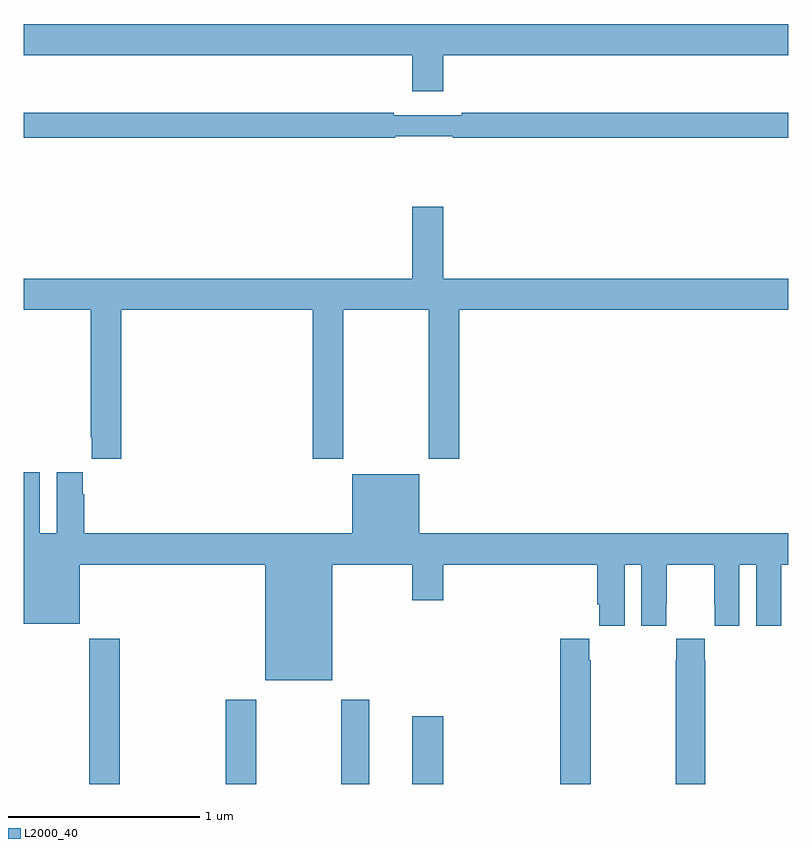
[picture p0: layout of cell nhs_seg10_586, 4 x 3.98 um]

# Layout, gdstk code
import gdstk
lib = gdstk.Library(unit=1e-6, precision=1e-09)
def R(c, l, rs):  # rectangles x0, y0, x1, y1
    for r in rs: c.add(gdstk.rectangle(r[:2], r[2:], *l))
def P(c, l, *ps):  # polygons
    for p in ps: c.add(gdstk.Polygon(p, *l))
L2000_40 = (2000, 40)

nhs_seg10_586 = lib.new_cell('nhs_seg10_586')
R(nhs_seg10_586, L2000_40, [(139.342,1300.5,139.502,1301.26), (140.057,1300.5,140.217,1300.942), (140.662,1300.5,140.809,1300.942), (141.032,1300.5,141.196,1300.855)])
P(nhs_seg10_586, L2000_40, [(141.196,1304.312),(143,1304.312),(143,1304.476),(139,1304.476),(139,1304.312),(141.032,1304.312),(141.032,1304.124),(141.196,1304.124)],
  [(140.945,1303.89),(141.245,1303.89),(141.245,1303.882),(143,1303.882),(143,1304.011),(141.292,1304.011),(141.292,1303.998),(140.936,1303.998),(140.936,1304.011),(139,1304.011),(139,1303.882),(140.945,1303.882)],
  [(139,1302.98),(139.351,1302.98),(139.351,1302.313),(139.355,1302.313),(139.355,1302.201),(139.511,1302.201),(139.511,1302.98),(140.513,1302.98),(140.513,1302.201),(140.673,1302.201),(140.673,1302.98),(141.118,1302.98),(141.118,1302.201),(141.278,1302.201),(141.278,1302.98),(143,1302.98),(143,1303.144),(141.196,1303.144),(141.196,1303.519),(141.032,1303.519),(141.032,1303.144),(139,1303.144)],
  [(140.614,1301.648),(141.032,1301.648),(141.032,1301.46),(141.196,1301.46),(141.196,1301.648),(142.001,1301.648),(142.001,1301.44),(142.01,1301.44),(142.01,1301.328),(142.144,1301.328),(142.144,1301.648),(142.232,1301.648),(142.232,1301.328),(142.362,1301.328),(142.362,1301.44),(142.363,1301.44),(142.363,1301.648),(142.613,1301.648),(142.613,1301.44),(142.614,1301.44),(142.614,1301.328),(142.744,1301.328),(142.744,1301.648),(142.832,1301.648),(142.832,1301.328),(142.962,1301.328),(142.962,1301.44),(142.963,1301.44),(142.963,1301.648),(143,1301.648),(143,1301.812),(141.07,1301.812),(141.07,1302.121),(140.72,1302.121),(140.72,1301.812),(139.316,1301.812),(139.316,1302.017),(139.309,1302.017),(139.309,1302.13),(139.172,1302.13),(139.172,1301.812),(139.084,1301.812),(139.084,1302.13),(139,1302.13),(139,1301.339),(139.294,1301.339),(139.294,1301.648),(140.264,1301.648),(140.264,1301.042),(140.614,1301.042)],
  [(142.566,1301.147),(142.563,1301.147),(142.563,1301.26),(142.413,1301.26),(142.413,1301.147),(142.411,1301.147),(142.411,1300.5),(142.566,1300.5)],
  [(141.966,1301.147),(141.959,1301.147),(141.959,1301.26),(141.806,1301.26),(141.806,1300.5),(141.966,1300.5)])

lib.write_gds('nhs_seg10_586.gds')
